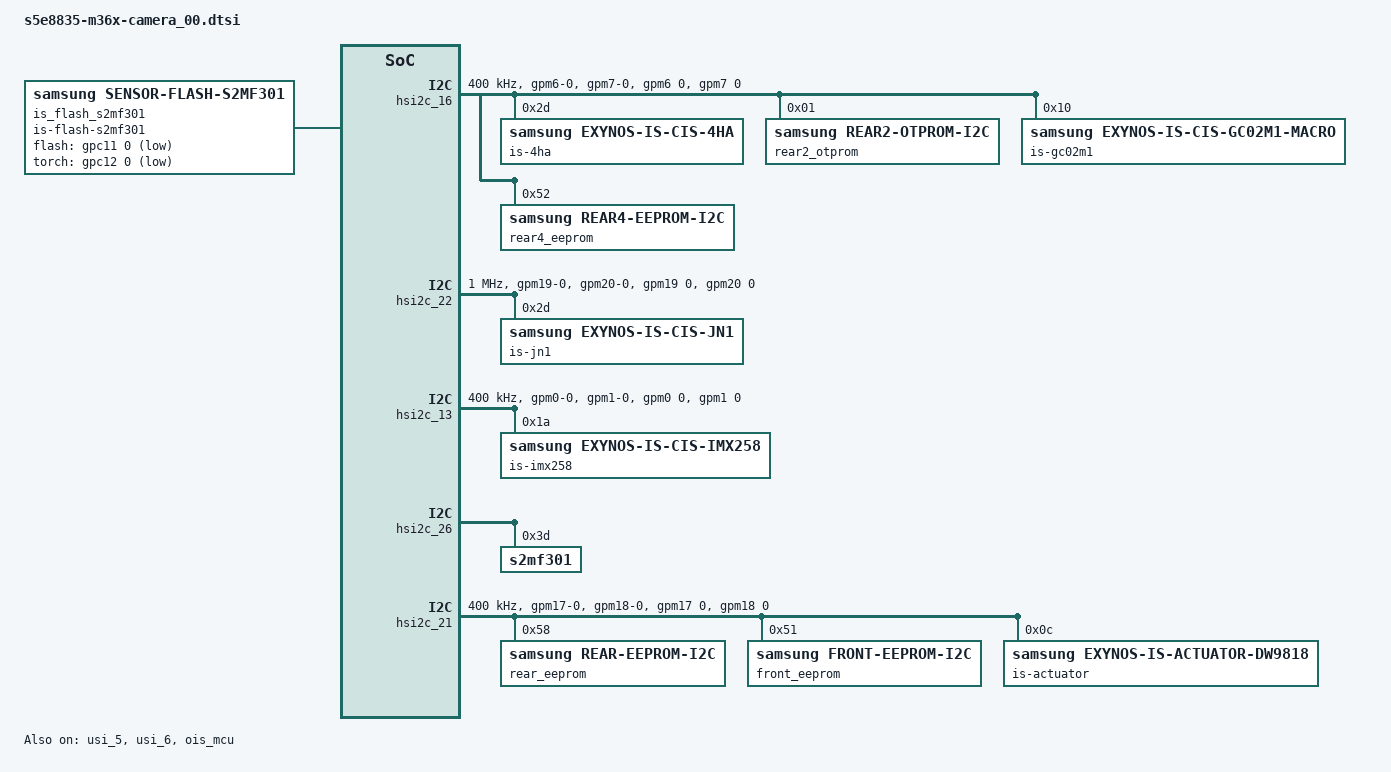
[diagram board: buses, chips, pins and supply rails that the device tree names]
/*
 * Samsung Exynos SoC series Pablo driver
 *
 * Copyright (c) 2024 Samsung Electronics Co., Ltd
 *
 * This program is free software; you can redistribute it and/or modify
 * it under the terms of the GNU General Public License version 2 as
 * published by the Free Software Foundation.
 */

#include <dt-bindings/camera/exynos_is_dt.h>
#include "module_jn1.dtsi"	/* Wide CAMERA */
#include "module_imx258.dtsi"	/* Front CAMERA */
#include "module_4ha.dtsi"	/* UW CAMERA */
#include "module_gc02m1.dtsi"	/* Macro CAMERA */

/ {
	fragment@camera {
		target-path = "/";
		__overlay__ {
			#address-cells = <2>;
			#size-cells = <1>;
			interrupt-parent = <&gic>;

			/* Wide CAMERA */
			is_sensor_jn1: is_sensor_jn1@5A {
				pinctrl-names = "pin0", "pin1", "pin2", "release";
				pinctrl-0 = <>;
				pinctrl-1 = <&sensor_mclk0_out>;
				pinctrl-2 = <&sensor_mclk0_fn>;
				pinctrl-3 = <>;

				/* board */
				position = <0>; /* Rear:0. Front:1, Tele:2 */
				id = <0>; /* is_sensor id */
				mclk_ch = <0>;
				sensor_i2c_ch = <0>; /* SENSOR_CONTROL_I2C0 */

				af {
					product_name = <33>; /* ACTUATOR_NAME_DW9818*/
					i2c_ch = <3>; /* SENSOR_CONTROL_I2C3 */
				};

				flash {
					product_name = <19>; /* S2MF301 */
				};

				preprocessor {
					product_name = <100>; /* NOTHING */
				};

				mcu {
					product_name = <2>; /* INTERNAL */
				};

				power_seq {
					scenario_normal_on {
						20 { pname = "VDD_VT_UW_MACRO_A2P8"; pin = <PIN_OUTPUT 1 0 1000>; gpio = <&gpm12 0 0x1>; share = <SRT_ACQUIRE SHARED_PIN1 1>; };
						30 { pname = "vdd_ldo22"; pin = <PIN_REGULATOR 1 1000>; share = <SRT_ACQUIRE SHARED_PIN0 1>; };
					};

					scenario_normal_off {
						90 { pname = "vdd_ldo22"; pin = <PIN_REGULATOR 0 0>; share = <SRT_RELEASE SHARED_PIN0 0>; };
						100 { pname = "VDD_VT_UW_MACRO_A2P8"; pin = <PIN_OUTPUT 0 1000>; gpio = <&gpm12 0 0x1>; share = <SRT_RELEASE SHARED_PIN1 0>; };
					};

					scenario_vision_on {
						20 { pname = "VDD_VT_UW_MACRO_A2P8"; pin = <PIN_OUTPUT 1 0 1000>; gpio = <&gpm12 0 0x1>; share = <SRT_ACQUIRE SHARED_PIN1 1>; };
						30 { pname = "vdd_ldo22"; pin = <PIN_REGULATOR 1 1000>; share = <SRT_ACQUIRE SHARED_PIN0 1>; };
					};

					scenario_vision_off {
						90 { pname = "vdd_ldo22"; pin = <PIN_REGULATOR 0 0>; share = <SRT_RELEASE SHARED_PIN0 0>; };
						100 { pname = "VDD_VT_UW_MACRO_A2P8"; pin = <PIN_OUTPUT 0 1000>; gpio = <&gpm12 0 0x1>;  share = <SRT_RELEASE SHARED_PIN1 0>; };
					};

					scenario_ois_factory_on {
						20 { pname = "VDD_VT_UW_MACRO_A2P8"; pin = <PIN_OUTPUT 1 0 1000>; gpio = <&gpm12 0 0x1>; share = <SRT_ACQUIRE SHARED_PIN1 1>; };
						30 { pname = "vdd_ldo22"; pin = <PIN_REGULATOR 1 1000>; share = <SRT_ACQUIRE SHARED_PIN0 1>; };
					};

					scenario_ois_factory_off {
						40 { pname = "vdd_ldo22"; pin = <PIN_REGULATOR 0 0>; share = <SRT_RELEASE SHARED_PIN0 0>; };
						50 { pname = "VDD_VT_UW_MACRO_A2P8"; pin = <PIN_OUTPUT 0 1000>; gpio = <&gpm12 0 0x1>; share = <SRT_RELEASE SHARED_PIN1 0>; };
					};

					scenario_read_rom_on {
						10 { pname = "VDD_VT_UW_MACRO_A2P8"; pin = <PIN_OUTPUT 1 0 1000>; gpio = <&gpm12 0 0x1>; share = <SRT_ACQUIRE SHARED_PIN1 1>; };
						20 { pname = "vdd_ldo22"; pin = <PIN_REGULATOR 1 1000>; share = <SRT_ACQUIRE SHARED_PIN0 1>; };
					};

					scenario_read_rom_off {
						30 { pname = "vdd_ldo22"; pin = <PIN_REGULATOR 0 0>; share = <SRT_RELEASE SHARED_PIN0 0>; };
						40 { pname = "VDD_VT_UW_MACRO_A2P8"; pin = <PIN_OUTPUT 0 1000>; gpio = <&gpm12 0 0x1>; share = <SRT_RELEASE SHARED_PIN1 0>; };
					};
				};
			};

			/* FRONT CAMERA */
			is_sensor_imx258: is_sensor_imx258@1A {
				pinctrl-names = "pin0", "pin1", "pin2", "release";
				pinctrl-0 = <>;
				pinctrl-1 = <&sensor_mclk2_out>;
				pinctrl-2 = <&sensor_mclk2_fn>;
				pinctrl-3 = <>;

				/* board */
				position = <1>;	/* Rear:0. Front:1. Rear_sub:2. Secure:3. */
				id = <1>; /* is_sensor id */
				mclk_ch = <2>;
				sensor_i2c_ch = <1>; /* SENSOR_CONTROL_I2C1 */

				power_seq {
					scenario_normal_on {
						20 { pname = "VDD_VT_UW_MACRO_A2P8"; pin = <PIN_OUTPUT 1 0 1000>; gpio = <&gpm12 0 0x1>; share = <SRT_ACQUIRE SHARED_PIN1 1>; };
						40 { pname = "vdd_ldo22"; pin = <PIN_REGULATOR 1 1000>; share = <SRT_ACQUIRE SHARED_PIN0 1>; };
					};

					scenario_normal_off {
						70 { pname = "vdd_ldo22"; pin = <PIN_REGULATOR 0 500>; share = <SRT_RELEASE SHARED_PIN0 0>; };
						90 { pname = "VDD_VT_UW_MACRO_A2P8"; pin = <PIN_OUTPUT 0 1000>; gpio = <&gpm12 0 0x1>; share = <SRT_RELEASE SHARED_PIN1 0>; };
					};

					scenario_vision_on {
						20 { pname = "VDD_VT_UW_MACRO_A2P8"; pin = <PIN_OUTPUT 1 0 1000>; gpio = <&gpm12 0 0x1>; share = <SRT_ACQUIRE SHARED_PIN1 1>; };
						40 { pname = "vdd_ldo22"; pin = <PIN_REGULATOR 1 1000>; share = <SRT_ACQUIRE SHARED_PIN0 1>; };
					};

					scenario_vision_off {
						70 { pname = "vdd_ldo22"; pin = <PIN_REGULATOR 0 500>; share = <SRT_RELEASE SHARED_PIN0 0>; };
						90 { pname = "VDD_VT_UW_MACRO_A2P8"; pin = <PIN_OUTPUT 0 1000>; gpio = <&gpm12 0 0x1>; share = <SRT_RELEASE SHARED_PIN1 0>; };
					};

					scenario_read_rom_on {
						10 { pname = "VDD_VT_UW_MACRO_A2P8"; pin = <PIN_OUTPUT 1 0 1000>; gpio = <&gpm12 0 0x1>; share = <SRT_ACQUIRE SHARED_PIN1 1>; };
						20 { pname = "vdd_ldo22"; pin = <PIN_REGULATOR 1 1000>; share = <SRT_ACQUIRE SHARED_PIN0 1>; };
					};

					scenario_read_rom_off {
						20 { pname = "vdd_ldo22"; pin = <PIN_REGULATOR 0 0>; share = <SRT_RELEASE SHARED_PIN0 0>; };
						30 { pname = "VDD_VT_UW_MACRO_A2P8"; pin = <PIN_OUTPUT 0 1000>; gpio = <&gpm12 0 0x1>; share = <SRT_RELEASE SHARED_PIN1 0>; };
					};
				};
			};

			/* UW CAMERA */
			is_sensor_4ha: is_sensor_4ha@2D {
				pinctrl-names = "pin0", "pin1", "pin2", "release";
				pinctrl-0 = <>;
				pinctrl-1 = <&sensor_mclk2_out>;
				pinctrl-2 = <&sensor_mclk2_fn>;
				pinctrl-3 = <>;

				/* board */
				position = <4>;	/* Rear:0. Front:1. Rear_sub:2. Secure:3. */
				id = <4>; /* is_sensor id */
				mclk_ch = <2>;
				sensor_i2c_ch = <2>; /* SENSOR_CONTROL_I2C2 */

				power_seq {
					scenario_normal_on {
						20 { pname = "VDD_VT_UW_MACRO_A2P8"; pin = <PIN_OUTPUT 1 0 2800000>; gpio = <&gpm12 0 0x1>; share = <SRT_ACQUIRE SHARED_PIN1 1>; };
						40 { pname = "vdd_ldo22"; pin = <PIN_REGULATOR 1 0>; share = <SRT_ACQUIRE SHARED_PIN0 1>; };
					};

					scenario_normal_off {
						70 { pname = "vdd_ldo22"; pin = <PIN_REGULATOR 0 500>; share = <SRT_RELEASE SHARED_PIN0 0>; };
						90 { pname = "VDD_VT_UW_MACRO_A2P8"; pin = <PIN_OUTPUT 0 0>; gpio = <&gpm12 0 0x1>; share = <SRT_RELEASE SHARED_PIN1 0>; };
					};

					scenario_vision_on {
						20 { pname = "VDD_VT_UW_MACRO_A2P8"; pin = <PIN_OUTPUT 1 0 2800000>; gpio = <&gpm12 0 0x1>; share = <SRT_ACQUIRE SHARED_PIN1 1>; };
						40 { pname = "vdd_ldo22"; pin = <PIN_REGULATOR 1 0>; share = <SRT_ACQUIRE SHARED_PIN0 1>; };
					};

					scenario_vision_off {
						70 { pname = "vdd_ldo22"; pin = <PIN_REGULATOR 0 500>; share = <SRT_RELEASE SHARED_PIN0 0>; };
						90 { pname = "VDD_VT_UW_MACRO_A2P8"; pin = <PIN_OUTPUT 0 0>; gpio = <&gpm12 0 0x1>; share = <SRT_RELEASE SHARED_PIN1 0>; };
					};

					scenario_read_rom_on {
						20 { pname = "VDD_VT_UW_MACRO_A2P8"; pin = <PIN_OUTPUT 1 0 2800000>; gpio = <&gpm12 0 0x1>; share = <SRT_ACQUIRE SHARED_PIN1 1>; };
						40 { pname = "vdd_ldo22"; pin = <PIN_REGULATOR 1 0>; share = <SRT_ACQUIRE SHARED_PIN0 1>; };
					};

					scenario_read_rom_off {
						70 { pname = "vdd_ldo22"; pin = <PIN_REGULATOR 0 500>; share = <SRT_RELEASE SHARED_PIN0 0>; };
						90 { pname = "VDD_VT_UW_MACRO_A2P8"; pin = <PIN_OUTPUT 0 0>; gpio = <&gpm12 0 0x1>; share = <SRT_RELEASE SHARED_PIN1 0>; };
					};

				};
			};

			/* MACRO CAMERA */
			is_sensor_gc02m1_macro: is_sensor_gc02m1_macro@20 {
				pinctrl-names = "pin0", "pin1", "pin2", "release";
				pinctrl-0 = <>;
				pinctrl-1 = <&sensor_mclk1_out>;
				pinctrl-2 = <&sensor_mclk1_fn>;
				pinctrl-3 = <>;

				/* board */
				position = <6>;	/* Rear:0. Front:1. Rear_sub:2. Secure:3. */
				id = <3>; /* is_sensor id */
				mclk_ch = <1>;
				sensor_i2c_ch = <2>; /* SENSOR_CONTROL_I2C2 */

				flash {
					product_name = <19>; /* S2MF301 */
				};

				power_seq {
					scenario_normal_on {
						20 { pname = "vdd_ldo22"; pin = <PIN_REGULATOR 1 1000>; share = <SRT_ACQUIRE SHARED_PIN0 1>; };
						40 { pname = "VDD_VT_UW_MACRO_A2P8"; pin = <PIN_OUTPUT 1 0>; gpio = <&gpm12 0 0x1>; share = <SRT_ACQUIRE SHARED_PIN1 1>; };
					};

					scenario_normal_off {
						30 { pname = "vdd_ldo22"; pin = <PIN_REGULATOR 0 500>; share = <SRT_RELEASE SHARED_PIN0 0>; };
						50 { pname = "VDD_VT_UW_MACRO_A2P8"; pin = <PIN_OUTPUT 0 0>; gpio = <&gpm12 0 0x1>; share = <SRT_RELEASE SHARED_PIN1 0>; };
					};

					scenario_vision_on {
						20 { pname = "vdd_ldo22"; pin = <PIN_REGULATOR 1 1000>; share = <SRT_ACQUIRE SHARED_PIN0 1>; };
						40 { pname = "VDD_VT_UW_MACRO_A2P8"; pin = <PIN_OUTPUT 1 0>; gpio = <&gpm12 0 0x1>; share = <SRT_ACQUIRE SHARED_PIN1 1>; };
					};

					scenario_vision_off {
						30 { pname = "vdd_ldo22"; pin = <PIN_REGULATOR 0 500>; share = <SRT_RELEASE SHARED_PIN0 0>; };
						50 { pname = "VDD_VT_UW_MACRO_A2P8"; pin = <PIN_OUTPUT 0 0>; gpio = <&gpm12 0 0x1>; share = <SRT_RELEASE SHARED_PIN1 0>; };
					};

					scenario_read_rom_on {
						10 { pname = "vdd_ldo22"; pin = <PIN_REGULATOR 1 1000>; share = <SRT_ACQUIRE SHARED_PIN0 1>; };
						20 { pname = "VDD_VT_UW_MACRO_A2P8"; pin = <PIN_OUTPUT 1 0>; gpio = <&gpm12 0 0x1>; share = <SRT_ACQUIRE SHARED_PIN1 1>; };
					};

					scenario_read_rom_off {
						20 { pname = "vdd_ldo22"; pin = <PIN_REGULATOR 0 500>; share = <SRT_RELEASE SHARED_PIN0 0>; };
						30 { pname = "VDD_VT_UW_MACRO_A2P8"; pin = <PIN_OUTPUT 0 0>; gpio = <&gpm12 0 0x1>; share = <SRT_RELEASE SHARED_PIN1 0>; };
					};
				};
			};

			is_flash_s2mf301: is-flash-s2mf301@0 {
				compatible = "samsung,sensor-flash-s2mf301";
				sensor-module = <&is_sensor_jn1>,<&is_sensor_gc02m1_macro>;
				id = <0 3>;
				led_ch = <1>;
				status = "okay";
				flash-gpio = <&gpc11 0 0x1>;
				torch-gpio = <&gpc12 0 0x1>;
			};

			/* OIS_MCU */
			ois_mcu: ois_mcu@151F0000 {
				pinctrl-names = "default";
				pinctrl-0 = <&ois_i2c>;
				compatible = "samsung,sensor-ois-mcu";
				reg = <0x0 0x151F0000 0x10000>, /* OIS MCU (SRAM 56KB) */
					<0x0 0x13900000 0x10000>, /* I2C: USI05_USI */
					<0x0 0x13910000 0x10000>, /* SPI: USI06_USI */
					<0x0 0x10040000 0x1000>, /* PERI setting */
					<0x0 0x15000000 0x10000>; /* CSIS */
				reg-names = "core", "i2c", "spi", "peri", "csis";
				interrupts = <0 INTREQ__OIS_FROM_CM0P IRQ_TYPE_LEVEL_HIGH>;

				id = <0>;
				status = "okay";
				mcu_ctrl_actuator = <0>;
				mcu_skip_video_fastae;

				power-domains = <&pd_csis>;
				clocks = <&clock GATE_OIS_MCU_TOP_QCH>, <&clock DOUT_DIV_CLK_PERI_USI06_USI>;
				clock-names = "user_mux", "ipclk_spi";
			};

			/* dphy_setfile settings taken from A54x */
			dphy_setfile_m35x_1: dphy-setfile_m35x_1@00 {
				comm {
					/* bias */
					0  = <0x1000 0 32 0x00000010 IDX_BIA_VAL 0>; /* M_BIAS_CON0 */
					1  = <0x1004 0 32 0x00000110 IDX_BIA_VAL 0>; /* M_BIAS_CON1 */
					2  = <0x1008 0 32 0x00003223 IDX_BIA_VAL 0>; /* M_BIAS_CON2 */
					3  = <0x1010 0 32 0x00000200 IDX_BIA_VAL 0>; /* M_BIAS_CON4 */
					4  = <0x1114 0 32 0x00000500 IDX_BIA_VAL 0>; /* M_PLL_CON5 */
					5  = <0x1118 0 32 0x00000000 IDX_BIA_VAL 0>; /* M_PLL_CON6 */
					6  = <0x111C 0 32 0x000028A0 IDX_BIA_VAL 0>; /* M_PLL_CON7 */
					7  = <0x1120 0 32 0x00001450 IDX_BIA_VAL 0>; /* M_PLL_CON8 */
					8  = <0x1124 0 32 0x00001208 IDX_BIA_VAL 0>; /* M_PLL_CON9 */

					/* Clock lane */
					9 = <0x0004 0 32 0x000028A0 IDX_FIX_VAL 0>; /* SC_GNR_CON1 */
					10 = <0x0008 0 32 0x00000001 IDX_FIX_VAL 0>; /* SC_ANA_CON0 */
					11 = <0x000C 0 32 0x0000E840 IDX_FIX_VAL 0>; /* SC_ANA_CON1 */
					12 = <0x0010 0 32 0x00000002 IDX_FIX_VAL 0>; /* SC_ANA_CON2 */
					13 = <0x0014 0 32 0x00008600 IDX_FIX_VAL 0>; /* SC_ANA_CON3 */
					14 = <0x0018 0 32 0x00004000 IDX_FIX_VAL 0>; /* SC_ANA_CON4 */
					15 = <0x0030 0 32 0x00000308 IDX_FIX_VAL 0>; /* SC_TIME_CON0 */
					16 = <0x0040 0 32 0x00000000 IDX_FIX_VAL 0>; /* SC_DATA_CON0 */

					/* Enable should be set at last */
					17 = <0x0000 0 32 0x00000001 IDX_FIX_VAL 0>; /* SC_GNR_CON0 */
				};

				lane {
					0  = <0x0004 0 32 0x000028A0 IDX_FIX_VAL 4>; /* SD_GNR_CON1 */
					1  = <0x0008 0 32 0x00000001 IDX_FIX_VAL 4>; /* SD_ANA_CON0 */
					2  = <0x000C 0 32 0x0000E840 IDX_FIX_VAL 4>; /* SD_ANA_CON1 */
					3  = <0x0010 0 32 0x00000002 IDX_FIX_VAL 4>; /* SD_ANA_CON2 */
					4  = <0x0010 8  2 0x00000000 IDX_SKW_DLY 4>; /* SD_ANA_CON2 */
					5  = <0x0014 0 32 0x00008600 IDX_FIX_VAL 4>; /* SD_ANA_CON3 */
					6  = <0x0018 0 32 0x00004000 IDX_FIX_VAL 4>; /* SD_ANA_CON4 */
					7  = <0x0030 0  8 0x00000000 IDX_STL_VAL 4>; /* SD_TIME_CON0 */
					8  = <0x0030 8  1 0x00000000 IDX_STL_CLK 4>; /* SD_TIME_CON0 */
					9  = <0x0034 0 32 0x00000003 IDX_FIX_VAL 4>; /* SD_TIME_CON1 */
					10 = <0x0040 0  1 0x00000001 IDX_SKW_CAL 4>; /* SD_DESKEW_CON0 */
					11 = <0x0050 0 32 0x0000081A IDX_FIX_VAL 4>; /* SD_DESKEW_CON4 */

					/* Enable should be set at last */
					12 = <0x0000 0 32 0x00000001 IDX_FIX_VAL 4>;/* SD_GNR_CON0 */
				};
			};

			dphy_setfile_m35x_2: dphy-setfile_m35x_2@00 {
				comm {
					/* bias */
					0  = <0x1000 0 32 0x00000010 IDX_BIA_VAL 0>; /* M_BIAS_CON0 */
					1  = <0x1004 0 32 0x00000110 IDX_BIA_VAL 0>; /* M_BIAS_CON1 */
					2  = <0x1008 0 32 0x00003223 IDX_BIA_VAL 0>; /* M_BIAS_CON2 */
					3  = <0x1010 0 32 0x00000200 IDX_BIA_VAL 0>; /* M_BIAS_CON4 */
					4  = <0x1114 0 32 0x00000500 IDX_BIA_VAL 0>; /* M_PLL_CON5 */
					5  = <0x1118 0 32 0x00000000 IDX_BIA_VAL 0>; /* M_PLL_CON6 */
					6  = <0x111C 0 32 0x000028A0 IDX_BIA_VAL 0>; /* M_PLL_CON7 */
					7  = <0x1120 0 32 0x00001450 IDX_BIA_VAL 0>; /* M_PLL_CON8 */
					8  = <0x1124 0 32 0x00001208 IDX_BIA_VAL 0>; /* M_PLL_CON9 */

					/* Clock lane */
					9 = <0x0004 0 32 0x000028A0 IDX_FIX_VAL 0>; /* SC_GNR_CON1 */
					10 = <0x0008 0 32 0x00000001 IDX_FIX_VAL 0>; /* SC_ANA_CON0 */
					11 = <0x000C 0 32 0x0000E840 IDX_FIX_VAL 0>; /* SC_ANA_CON1 */
					12 = <0x0010 0 32 0x00000002 IDX_FIX_VAL 0>; /* SC_ANA_CON2 */
					13 = <0x0014 0 32 0x00008600 IDX_FIX_VAL 0>; /* SC_ANA_CON3 */
					14 = <0x0018 0 32 0x00004000 IDX_FIX_VAL 0>; /* SC_ANA_CON4 */
					15 = <0x0030 0 32 0x00000308 IDX_FIX_VAL 0>; /* SC_TIME_CON0 */
					16 = <0x0040 0 32 0x00000000 IDX_FIX_VAL 0>; /* SC_DATA_CON0 */

					/* Enable should be set at last */
					17 = <0x0000 0 32 0x00000001 IDX_FIX_VAL 0>; /* SC_GNR_CON0 */
				};
			};

			dphy_setfile_m54x_4ha: dphy-setfile_m54x_4ha@00 {
				comm {
					/* bias */
					0  = <0x1000 0 32 0x00000010 IDX_BIA_VAL 0>; /* M_BIAS_CON0 */
					1  = <0x1004 0 32 0x00000110 IDX_BIA_VAL 0>; /* M_BIAS_CON1 */
					2  = <0x1008 0 32 0x00003223 IDX_BIA_VAL 0>; /* M_BIAS_CON2 */
					3  = <0x1010 0 32 0x00000200 IDX_BIA_VAL 0>; /* M_BIAS_CON4 */
					4  = <0x1114 0 32 0x00000500 IDX_BIA_VAL 0>; /* M_PLL_CON5 */
					5  = <0x1118 0 32 0x00000000 IDX_BIA_VAL 0>; /* M_PLL_CON6 */
					6  = <0x111C 0 32 0x000028A0 IDX_BIA_VAL 0>; /* M_PLL_CON7 */
					7  = <0x1120 0 32 0x00001450 IDX_BIA_VAL 0>; /* M_PLL_CON8 */
					8  = <0x1124 0 32 0x00001208 IDX_BIA_VAL 0>; /* M_PLL_CON9 */

					/* Clock lane */
					9 = <0x0004 0 32 0x000028A0 IDX_FIX_VAL 0>; /* SC_GNR_CON1 */
					10 = <0x0008 0 32 0x00000001 IDX_FIX_VAL 0>; /* SC_ANA_CON0 */
					11 = <0x000C 0 32 0x0000E840 IDX_FIX_VAL 0>; /* SC_ANA_CON1 */
					12 = <0x0010 0 32 0x00000002 IDX_FIX_VAL 0>; /* SC_ANA_CON2 */
					13 = <0x0014 0 32 0x00008600 IDX_FIX_VAL 0>; /* SC_ANA_CON3 */
					14 = <0x0018 0 32 0x00004000 IDX_FIX_VAL 0>; /* SC_ANA_CON4 */
					15 = <0x0030 0 32 0x00000308 IDX_FIX_VAL 0>; /* SC_TIME_CON0 */
					16 = <0x0040 0 32 0x00000000 IDX_FIX_VAL 0>; /* SC_DATA_CON0 */

					/* Enable should be set at last */
					17 = <0x0000 0 32 0x00000001 IDX_FIX_VAL 0>; /* SC_GNR_CON0 */
				};

				lane {
					0  = <0x0004 0 32 0x000028A0 IDX_FIX_VAL 4>; /* SD_GNR_CON1 */
					1  = <0x0008 0 32 0x00000001 IDX_FIX_VAL 4>; /* SD_ANA_CON0 */
					2  = <0x000C 0 32 0x0000E840 IDX_FIX_VAL 4>; /* SD_ANA_CON1 */
					3  = <0x0010 0 32 0x00000002 IDX_FIX_VAL 4>; /* SD_ANA_CON2 */
					4  = <0x0010 8  2 0x00000000 IDX_SKW_DLY 4>; /* SD_ANA_CON2 */
					5  = <0x0014 0 32 0x00008600 IDX_FIX_VAL 4>; /* SD_ANA_CON3 */
					6  = <0x0018 0 32 0x00004000 IDX_FIX_VAL 4>; /* SD_ANA_CON4 */
					7  = <0x0030 0  8 0x00000000 IDX_STL_VAL 4>; /* SD_TIME_CON0 */
					8  = <0x0030 8  1 0x00000000 IDX_STL_CLK 4>; /* SD_TIME_CON0 */
					9  = <0x0034 0 32 0x00000003 IDX_FIX_VAL 4>; /* SD_TIME_CON1 */
					10 = <0x0040 0  1 0x00000001 IDX_SKW_CAL 4>; /* SD_DESKEW_CON0 */
					11 = <0x0050 0 32 0x0000081A IDX_FIX_VAL 4>; /* SD_DESKEW_CON4 */

					/* Enable should be set at last */
					12 = <0x0000 0 32 0x00000001 IDX_FIX_VAL 4>;/* SD_GNR_CON0 */
				};
			};

			/* Wide CAMERA */
			is_sensor0: is_sensor0@15030000 {
				#address-cells = <1>;
				#size-cells = <1>;
				scenario = <SENSOR_SCENARIO_NORMAL>;	/* Normal, Vision, OIS etc */
				id = <0>;
				csi_ch = <0>;
				status = "okay";
				use_cphy = <0>;

				interrupts = <0 INTREQ__CSIS0 IRQ_TYPE_LEVEL_HIGH>; /*MIPI-CSI0 */
				interrupt-names = "csi";
				phys = <&mipi_phy_csis0_m0s4s4s4s4_s22 0>;
				phy_setfile = <&dphy_setfile>;
				phy_tune_default_mode = "4080 3060 30";
			};

			/* FRONT CAMERA */
			is_sensor1: is_sensor1@15040000 {
				#address-cells = <1>;
				#size-cells = <1>;
				reg = <0x0 0x15050000 0x1000>, /* MIPI-CSI2 */
						<0x0 0x150F0000 0x10000>; /* PHY: M0S4S4S4S4_S22 */
				scenario = <SENSOR_SCENARIO_NORMAL>;	/* Normal, Vision, OIS etc */
				id = <1>;
				csi_ch = <2>;
				status = "okay";
				use_cphy = <0>;

				interrupts = <0 INTREQ__CSIS2 IRQ_TYPE_LEVEL_HIGH>; /* MIPI-CSI2 */
				interrupt-names = "csi";
				phys = <&mipi_phy_csis2_m0s4s4s4s4_s22 0>;
				phy_setfile = <&dphy_setfile_m35x_1>, <&dphy_setfile_m35x_2>;
				phy_tune_default_mode = "4128 3096 30";
			};

			/* Macro CAMERA */
			is_sensor4: is_sensor4@15070000 {
				#address-cells = <1>;
				#size-cells = <1>;
				reg = <0x0 0x15060000 0x1000>, /* MIPI-CSI3 */
						<0x0 0x150F0000 0x10000>; /* PHY: M0S4S4S4S4S2S1 */
				scenario = <SENSOR_SCENARIO_NORMAL>;	/* Normal, Vision, OIS etc */
				id = <3>;
				csi_ch = <3>;
				status = "okay";
				use_cphy = <0>;

				interrupts = <0 INTREQ__CSIS3 IRQ_TYPE_LEVEL_HIGH>; /* MIPI-CSI3 */
				phys = <&mipi_phy_csis3_m0s4s4s4s4_s22 0>;
				phy_setfile = <&dphy_setfile>;
				phy_tune_default_mode = "1600 1200 30";
			};

			/* UW CAMERA */
			is_sensor2: is_sensor2@15050000 {
				#address-cells = <1>;
				#size-cells = <1>;
				reg = <0x0 0x15040000 0x1000>, /* MIPI-CSI1 */
					<0x0 0x150F0000 0x10000>; /* PHY: M0S4S4S4S4_S22 */
				scenario = <SENSOR_SCENARIO_NORMAL>;	/* Normal, Vision, OIS etc */
				id = <4>;
				csi_ch = <1>;
				status = "okay";

				interrupts = <0 INTREQ__CSIS1 IRQ_TYPE_LEVEL_HIGH>; /* MIPI-CSI1 */
				interrupt-names = "csi";
				phys = <&mipi_phy_csis1_m0s4s4s4s4_s22 0>;
				phy_setfile = <&dphy_setfile_m54x_4ha>;
				phy_tune_default_mode = "3264 2448 30";
			};

			is_sensor3: is_sensor3@15060000 {
				status = "disabled";
			};
		}; /* end of __overlay__ */
	}; /* end of fragment */
}; /* end of root */

/***** reference symbol node *****/
/* Ois setting */
&usi_5 {
	usi_v2_mode = "i2c";
	status = "okay";
};

&usi_6 {
	usi_v2_mode = "spi";
	status = "okay";
};

/*
 * [Pin control reference]
 * samsung,pin-function = <0: Input, 1: Output, 2~3: Func>;
 * samsung,pin-pud = <0: NP, 1: PD, 3: PU(2KOhm), 5: PU(0.8KOhm)>;
 * samsung,pin-drv = <0: x1, 1: x2, 2: x3, 3: x4>;
 * samsung,pin-con-pdn = <0: Output0, 1: Output1, 2: Input, 3:Prev>;
 * samsung,pin-pud-pdn = <0: NP, 1: PD, 3: PU>;
 */
 
/* GPIO_PERI */
&pinctrl_1 {
	/* FRONT i2c1 */
	hsi2c13_bus: hsi2c13-bus {
			samsung,pins = "gpm0-0", "gpm1-0";
			samsung,pin-function = <2>;
			samsung,pin-pud = <0>;
			samsung,pin-drv = <0>;
	};

	hsi2c13_bus_in: hsi2c13-bus-in {
			samsung,pins = "gpm0-0", "gpm1-0";
			samsung,pin-function = <0>;
			samsung,pin-pud = <0>;
			samsung,pin-drv = <0>;
	};

	/* UW,MACRO : i2c2 */
	hsi2c16_bus: hsi2c16-bus {
			samsung,pins = "gpm6-0", "gpm7-0";
			samsung,pin-function = <3>;
			samsung,pin-pud = <0>;
			samsung,pin-drv = <0>;
	};

	hsi2c16_bus_in: hsi2c16-bus-in {
			samsung,pins = "gpm6-0", "gpm7-0";
			samsung,pin-function = <0>;
			samsung,pin-pud = <0>;
			samsung,pin-drv = <0>;
	};

	/* REAR Wide : i2c0 */
	hsi2c22_bus: hsi2c22-bus {
			samsung,pins = "gpm19-0", "gpm20-0";
			samsung,pin-function = <3>;
			samsung,pin-pud = <0>;
			samsung,pin-drv = <0>;
	};

	hsi2c22_bus_in: hsi2c22-bus-in {
			samsung,pins = "gpm19-0", "gpm20-0";
			samsung,pin-function = <0>;
			samsung,pin-pud = <0>;
			samsung,pin-drv = <0>;
	};

	/* Wide AF,EEP i2c3 */
	hsi2c21_bus: hsi2c21-bus {
			samsung,pins = "gpm17-0", "gpm18-0";
			samsung,pin-function = <2>;
			samsung,pin-pud = <0>;
			samsung,pin-drv = <0>;
	};

	hsi2c21_bus_in: hsi2c21-bus-in {
			samsung,pins = "gpm17-0", "gpm18-0";
			samsung,pin-function = <0>;
			samsung,pin-pud = <0>;
			samsung,pin-drv = <0>;
	};

	cam_flash_en: cam-flash-en {
		samsung,pins = "gpc11-0";
		samsung,pin-function = <1>;
		samsung,pin-con-pdn= <3>;
	};

	cam_torch_en: cam-torch-en {
		samsung,pins = "gpc12-0";
		samsung,pin-function = <1>;
		samsung,pin-con-pdn= <3>;
	};
};

&pinctrl_3 {
	ois_i2c: ois-i2c {
		samsung,pins = "gpp1-4", "gpp1-5";
		samsung,pin-function = <0>;
		samsung,pin-pud = <0>;
		samsung,pin-pud-pdn = <0>;
	};

	rcam1_ois_ldo_en: rcam1-ois-ldo-en {
		samsung,pins = "gpp2-4";
		samsung,pin-con-pdn = <0>;
	};

	rcam1_ldo_en: rcam1-ldo-en {
		samsung,pins = "gpp2-5";
		samsung,pin-con-pdn = <0>;
	};
};

&hsi2c_16 {
	#address-cells = <1>;
	#size-cells = <0>;
	gpios = <&gpm6 0 0 &gpm7 0 0>;
	status = "okay";
	clock-frequency = <400000>;
	samsung,reset-before-trans;

	pinctrl-names = "default","on_i2c","off_i2c";
	pinctrl-0 = <&hsi2c16_bus_in>;
	pinctrl-1 = <&hsi2c16_bus>;
	pinctrl-2 = <&hsi2c16_bus_in>;

	is-4ha@2D {
		compatible = "samsung,exynos-is-cis-4ha";
		sensor-module = <&is_sensor_4ha>;
		reg = <0x2D>; /* 1 bit right shift */
		id = <4>; /* matching is_sensor id */
		setfile = "setB";
		status = "okay";
		rev_reg = <0x0000 2 0x48AB>;
		sensor_f_number = <220>;	/* f number 2.2 */
	};

	rear2_otprom@2D { /* UW OTPROM */
		compatible = "samsung,rear2-otprom-i2c";
		reg = <0x01>;

		rom_power_position = <4>;
		rom_size = <0x1AA0>;
		cal_map_es_version = <1>;
		camera_module_es_version = "A";
		/* skip_cal_loading; */

		/* 20220824_A34 5G_CAM2(UW_8M_4HA)_OTP_Rear_Cal map V008.001_QC_LSI_MTK_ê³µìš©_Map */
		/* 0 header */
		header_crc_check_list = <0x0000 0x0051 0x0052>;
		/* 0 module */
		crc_check_list = <0x0056 0x0477 0x0478>;
		/* Master */
		rom_header_version_start_addr = <0x000A>;
		rom_header_cal_data_start_addr = <0x0056>;
		rom_header_cal_map_ver_start_addr = <0x0016>;
		rom_header_project_name_start_addr = <0x1E>;
		rom_header_module_id_addr = <0x0036>; /* 0x0030 + reserved bytes */
		rom_header_sensor_id_addr = <0x0040>;
		rom_awb_master_addr = <0x0060>;

		/* standard cal */
		use_standard_cal;
		rom_standard_cal_start_addr = <0x0060>;
		rom_standard_cal_end_addr = <0x0A43>;
		rom_standard_cal_sec2lsi_end_addr = <0x1A5F>;
		rom_awb_start_addr = <0x0060>;
		rom_awb_end_addr = <0x0067>;
		rom_shading_start_addr = <0x006A>;
		rom_shading_end_addr = <0x0462>;
		rom_awb_sec2lsi_start_addr = <0x0060>;
		rom_awb_sec2lsi_end_addr = <0x0067>;
		rom_awb_sec2lsi_checksum_addr = <0x006C>;
		rom_awb_sec2lsi_checksum_len = <0xC>;
		rom_shading_sec2lsi_start_addr = <0x0070>;
		rom_shading_sec2lsi_end_addr = <0x1A57>;
		rom_shading_sec2lsi_checksum_addr = <0x1A5C>;
		rom_shading_sec2lsi_checksum_len = <0x19EC>;
	};

	is-gc02m1@20 {
		compatible = "samsung,exynos-is-cis-gc02m1-macro";
		sensor-module = <&is_sensor_gc02m1_macro>;
		reg = <0x10>; /* 1 bit right shift */
		id = <3>; /* matching is_sensor id */
		setfile = "setA";
		status = "okay";
		//rev_reg = <0x0002 2 0xA202>;
		sensor_f_number = <240>;	/* f number 2.4 */
	};

	rear4_eeprom@A4 { /* Macro eeprom */
		compatible = "samsung,rear4-eeprom-i2c";
		reg = <0x52>;

		rom_power_position = <6>;
		rom_size = <0x1D4A>;
		cal_map_es_version = <1>;
		camera_module_es_version = "A";
		/* skip_cal_loading; */

		/* 0 header */
		header_crc_check_list = <0x0000 0x00FB 0x00FC>;
		/* 0 module */
		crc_check_list = <  0x0100 0x010B 0X010C
			0x0110 0x011B 0x011C
			0x0120 0x051B 0x051C >;
		/* Master */
		rom_header_version_start_addr = <0x5E>;
		rom_header_cal_data_start_addr = <0x00>;
		rom_header_cal_map_ver_start_addr = <0x88>;
		rom_header_project_name_start_addr = <0x90>;
		rom_header_module_id_addr = <0xAE>;
		rom_header_sensor_id_addr = <0xB8>;
		rom_awb_master_addr = <0x0110>;

		/* standard cal */
		use_standard_cal;
		rom_standard_cal_start_addr = <0x0100>;
		rom_standard_cal_end_addr = <0x051F>;
		rom_standard_cal_sec2lsi_end_addr = <0x1B0F>;
		rom_awb_start_addr = <0x0110>;
		rom_awb_end_addr = <0x0117>;
		rom_shading_start_addr = <0x0120>;
		rom_shading_end_addr = <0x0518>;
		rom_factory_start_addr = <0x0520>;
		rom_factory_end_addr = <0x0759>;

		rom_awb_sec2lsi_start_addr = <0x0110>;
		rom_awb_sec2lsi_end_addr = <0x0117>;
		rom_awb_sec2lsi_checksum_addr = <0x011C>;
		rom_awb_sec2lsi_checksum_len = <0xC>;
		rom_shading_sec2lsi_start_addr = <0x0120>;
		rom_shading_sec2lsi_end_addr = <0x1B07>;
		rom_shading_sec2lsi_checksum_addr = <0x1B0C>;
		rom_shading_sec2lsi_checksum_len = <0x19EC>;
		rom_factory_sec2lsi_start_addr = <0x1B10>;
	};
};

&hsi2c_22 {
	#address-cells = <1>;
	#size-cells = <0>;
	gpios = <&gpm19 0 0 &gpm20 0 0>;
	status = "okay";
	clock-frequency = <1000000>;
	samsung,reset-before-trans;
	samsung,fast-plus-mode;

	pinctrl-names = "default","on_i2c","off_i2c";
	pinctrl-0 = <&hsi2c22_bus_in>;
	pinctrl-1 = <&hsi2c22_bus>;
	pinctrl-2 = <&hsi2c22_bus_in>;

	is-jn1@5A {
		compatible = "samsung,exynos-is-cis-jn1";
		sensor-module = <&is_sensor_jn1>;
		reg = <0x2D>; /* 1 bit right shift */
		id = <0>; /* matching is_sensor id */
		setfile = "setA";
		status = "okay";
		rev_reg = <0x0002 2 0xB100>;
		vendor_use_adaptive_mipi;
		sensor_f_number = <180>;	/* f number 1.8 */
	};
};

&hsi2c_13 {
	#address-cells = <1>;
	#size-cells = <0>;
	gpios = <&gpm0 0 0 &gpm1 0 0>;
	status = "okay";
	clock-frequency = <400000>;
	samsung,reset-before-trans;

	pinctrl-names = "default","on_i2c","off_i2c";
	pinctrl-0 = <&hsi2c13_bus_in>;
	pinctrl-1 = <&hsi2c13_bus>;
	pinctrl-2 = <&hsi2c13_bus_in>;

	is-imx258@1A {
		compatible = "samsung,exynos-is-cis-imx258";
		sensor-module = <&is_sensor_imx258>;
		reg = <0x1A>; /* 1 bit right shift */
		id = <1>; /* matching is_sensor id */
		setfile = "setB";
		status = "okay";
		rev_reg = <0x0002 1 0xB0>;
		sensor_f_number = <220>;	/* f number 2.2 */
		vendor_use_adaptive_mipi;
	};
};

&hsi2c_26 {
/* FLASH-LED: LEDS-S2MF301 */
		s2mf301@3D {
		reg = <0x3D>;
		flash_led {
			default_current = <50>;
			max_current = <200>;
			default_timer = <0>;
			flash-gpio = <&gpc11 0 0x1>;
			torch-gpio = <&gpc12 0 0x1>;

			flash_current = <1250>;
			preflash_current = <200>;
			torch_current = <50 80 130 170 210>;
			movie_current = <200>;
			factory_torch_current = <250>;
			factory_flash_current = <250>;
			flashlight_current = <50 80 130 170 210>;
			status = "okay";
		};
	};
};

&hsi2c_21 {
	#address-cells = <1>;
	#size-cells = <0>;
	gpios = <&gpm17 0 0 &gpm18 0 0>;
	status = "okay";
	clock-frequency = <400000>;
	samsung,reset-before-trans;

	pinctrl-names = "default","on_i2c","off_i2c";
	pinctrl-0 = <&hsi2c21_bus_in>;
	pinctrl-1 = <&hsi2c21_bus>;
	pinctrl-2 = <&hsi2c21_bus_in>;

	rear_eeprom@B0 { /* Rear Wide eeprom */
		compatible = "samsung,rear-eeprom-i2c";
		reg = <0x58>;

		rom_power_position = <0>;
		rom_size = <0x543A>;
		cal_map_es_version = <1>;
		camera_module_es_version = "A";
		/* skip_cal_loading; */
		/* 0 header */
		header_crc_check_list = <0x0000 0x00FB 0x00FC>;
		crc_check_list = <  0x01A0 0x0224B 0X224C
			0x2790 0x27DB 0x27DC
			0x27E0 0x2F9B 0x2F9C
			0x3800 0x381B 0x381C
			0x3820 0x3C1B 0x3C1C >;
		/* Master */
		rom_header_version_start_addr = <0x6E>;
		rom_header_cal_data_start_addr = <0x00>;
		rom_header_cal_map_ver_start_addr = <0x90>;
		rom_header_project_name_start_addr = <0x98>;
		rom_header_module_id_addr = <0xB6>;
		rom_header_sensor_id_addr = <0xC0>;
		rom_awb_master_addr = <0x3800>;
#if 0
		/* Dual cal slave 0 - Bokeh DualCal info data (Set Cal) */
		rom_dualcal_slave0_start_addr = <0x1070>;
		rom_dualcal_slave0_size = <0x080C>; /* 2060 */
#endif
		/* Rear Crosstalk Cal data */
		rom_xtc_cal_data_start_addr = <0x01A0>;
		rom_xtc_cal_data_size = <0x20AC>;
		rom_xtc_cal_data_addr_list = <0x01A0 0x224B>;
		rear_remosaic_tetra_xtc_start_addr	= <0x150C>;
		rear_remosaic_tetra_xtc_size		= <0x0A34>;
		rear_remosaic_sensor_xtc_start_addr	= <0x1F40>;
		rear_remosaic_sensor_xtc_size		= <0x0300>;
		rear_remosaic_pdxtc_start_addr		= <0x01A0>;
		rear_remosaic_pdxtc_size			= <0x0FA0>;
		rear_remosaic_sw_ggc_start_addr		= <0x1140>;
		rear_remosaic_sw_ggc_size			= <0x0272>;
		rom_af_cal_addr = <0x279C 0x2790>; /*AF position inf 0 Near Far */

		use_standard_cal;
		rom_standard_cal_start_addr = <0x0100>;
		rom_standard_cal_end_addr = <0x3C1F>;
		rom_standard_cal_sec2lsi_end_addr = <0x51FF>;
		rom_awb_start_addr = <0x3800>;
		rom_awb_end_addr = <0x3807>;
		rom_shading_start_addr = <0x3820>;
		rom_shading_end_addr = <0x3C18>;
		rom_factory_start_addr = <0x3C20>;
		rom_factory_end_addr = <0x3E59>;

		rom_awb_sec2lsi_start_addr = <0x3800>;
		rom_awb_sec2lsi_end_addr = <0x3807>;
		rom_awb_sec2lsi_checksum_addr = <0x380C>;
		rom_awb_sec2lsi_checksum_len = <0xC>;
		rom_shading_sec2lsi_start_addr = <0x3810>;
		rom_shading_sec2lsi_end_addr = <0x51F7>;
		rom_shading_sec2lsi_checksum_addr = <0x51FC>;
		rom_shading_sec2lsi_checksum_len = <0x19EC>;
		rom_factory_sec2lsi_start_addr = <0x5200>;

		/* sensor ois - xgg ygg xcoef ycoef xsupper ysupper calmark */
		rom_ois_list = <0x0150 0x0154 0x015C 0x015E 0x0178 0x017A 0x0170>;
	};

	front_eeprom@A2 { /* Front EEPROM */
		compatible = "samsung,front-eeprom-i2c";
		reg = <0x51>;
		rom_power_position = <1>;
		rom_size = <0x1C84>;
		cal_map_es_version = <1>;
		camera_module_es_version = "A";
		/* skip_cal_loading; */

		/* 0 header */
		header_crc_check_list = <0x0000 0x0051 0x0052>;
		/* 0 cross-talk */
		/* 1 standard cal */
		crc_check_list = <0x0056 0x0477 0x0478>;
		/* Master */
		rom_header_version_start_addr = <0x0A>;
		rom_header_cal_data_start_addr = <0x00>;
		rom_header_cal_map_ver_start_addr = <0x16>;
		rom_header_project_name_start_addr = <0x1E>;
		rom_header_module_id_addr = <0x36>; /* 0x28 + reserved bytes */
		rom_header_sensor_id_addr = <0x40>;
		rom_awb_master_addr = <0x0064>;

		/* standard cal */
		use_standard_cal;
		rom_standard_cal_start_addr = <0x0056>;
		rom_standard_cal_end_addr = <0x047B>;
		rom_standard_cal_sec2lsi_end_addr = <0x1A63>;
		rom_awb_start_addr = <0x0064>;
		rom_awb_end_addr = <0x006B>;
		rom_shading_start_addr = <0x006E>;
		rom_shading_end_addr = <0x0466>;
		rom_factory_start_addr = <0x047C>;
		rom_factory_end_addr = <0x069B>;
		rom_awb_sec2lsi_start_addr = <0x0064>;
		rom_awb_sec2lsi_end_addr = <0x006B>;
		rom_awb_sec2lsi_checksum_addr = <0x0070>;
		rom_awb_sec2lsi_checksum_len = <0xC>;
		rom_shading_sec2lsi_start_addr = <0x0074>;
		rom_shading_sec2lsi_end_addr = <0x1A5B>;
		rom_shading_sec2lsi_checksum_addr = <0x1A60>;
		rom_shading_sec2lsi_checksum_len = <0x19EC>;
		rom_factory_sec2lsi_start_addr = <0x1A64>;
	};

	is-actuator@0C { /* wide AF */
		compatible = "samsung,exynos-is-actuator-dw9818";
		sensor-module = <&is_sensor_jn1>;
		reg = <0x0C>;
		id = <0>; /* matching is_sensor id */
		vendor_first_pos = <512>; /* 10bits */
		vendor_first_delay = <20>;
		status = "okay";
	};

};

&exynos_is {
	pinctrl-names = "default";
	pinctrl-0 = <&cam_torch_en &cam_flash_en &rcam1_ois_ldo_en &rcam1_ldo_en>;

	vender {
		use_module_check;
		use_ois;
		check_sensor_vendor;
		ois_sensor_index = <0>;
		aperture_sensor_index = <0>;
		mcu_sensor_index = <0>;
		skip_cal_loading;

		is_vendor_sensor_count = <4>;
		max_supported_camera = <4>;
		supported_cameraId = <0 1 58 60>;
		ois_gyro_list = <0x04 0x00 0x00>;

		/*
		* Wide(0)
		* Front(1)
		* U Wide(2)
		* Front 80(3) - not available for factory
		* Front Secure(5) - not available for factory
		* DUAL_REAR_PORTRAIT_WIDE(23)
		* Bokeh(52)
		* Rear_UW(58)
		* Macro(60)
		*/

		/* sysfs camera id */
		max_camera_num = <5>;
		sensor_id { /* sensor position = <sensor_id> */
			0 = <72>;	/* S5KJN1 */
			1 = <110>;	/* IMX258 */
			4 = <39>;	/* S5K4HA */
			6 = <214>;	/* GC02M1 */
		};

		camera_info0 {			/* 0 : sysfs rear */
			internal_id = <0>;	/* 0 : wide */
			isp = <0>;		/* 0 : INT, 1 : EXT, 2 : SOC */
			cal_memory = <2>;	/* 0 : N, 1 : FROM, 2 : EEPROM, 3 : OTP */
			read_version = <0>;	/* 0 : SYSFS, 1 : CAMON */
			core_voltage = <0>;	/* 0 : N, 1 : Y */
			upgrade = <0>;		/* 0 : N, 1 : SYSFS , 2 : CAMON */
			fw_write = <0>;		/* 0 : N, 1 : OS, 2 : SD, 3 : ALL */
			fw_dump = <0>;		/* 0 : N, 1 : Y */
			companion = <0>;	/* 0 : N, 1 : Y */
			ois = <1>;		/* 0 : N, 1 : Y */
			valid = <1>;		/* 0 : INVALID, 1 : VALID */
		};
		camera_info1 {			/* 1 : sysfs front */
			internal_id = <1>;	/* 1 : front */
			isp = <0>;		/* 0 : INT, 1 : EXT, 2 : SOC */
			cal_memory = <2>;	/* 0 : N, 1 : FROM, 2 : EEPROM, 3 : OTP */
			read_version = <0>;	/* 0 : SYSFS, 1 : CAMON */
			core_voltage = <0>;	/* 0 : N, 1 : Y */
			upgrade = <0>;		/* 0 : N, 1 : SYSFS, 2 : CAMON */
			fw_write = <0>;		/* 0 : N, 1 : OS, 2 : SD, 3 : ALL */
			fw_dump = <0>;		/* 0 : N, 1 : Y */
			companion = <0>;	/* 0 : N, 1 : Y */
			ois = <0>;		/* 0 : N, 1 : Y */
			valid = <1>;		/* 0 : INVALID, 1 : VALID */
		};
		camera_info2 {			/* 2 : sysfs rear2 */
			internal_id = <4>;	/* 2 : ultra wide */
			isp = <0>;		/* 0 : INT, 1 : EXT, 2 : SOC */
			cal_memory = <3>;	/* 0 : N, 1 : FROM, 2 : EEPROM, 3 : OTP */
			read_version = <0>;	/* 0 : SYSFS, 1 : CAMON */
			core_voltage = <0>;	/* 0 : N, 1 : Y */
			upgrade = <0>;		/* 0 : N, 1 : SYSFS, 2 : CAMON */
			fw_write = <0>;		/* 0 : N, 1 : OS, 2 : SD, 3 : ALL */
			fw_dump = <0>;		/* 0 : N, 1 : Y */
			companion = <0>;	/* 0 : N, 1 : Y */
			ois = <0>;		/* 0 : N, 1 : Y */
			valid = <1>;		/* 0 : INVALID, 1 : VALID */
		};
		camera_info4 {			/* 4 : sysfs rear4 */
			internal_id = <6>;	/* 4 : macro */
			isp = <0>;		/* 0 : INT, 1 : EXT, 2 : SOC */
			cal_memory = <2>;	/* 0 : N, 1 : FROM, 2 : EEPROM, 3 : OTP */
			read_version = <0>;	/* 0 : SYSFS, 1 : CAMON */
			core_voltage = <0>;	/* 0 : N, 1 : Y */
			upgrade = <0>;		/* 0 : N, 1 : SYSFS, 2 : CAMON */
			fw_write = <0>;		/* 0 : N, 1 : OS, 2 : SD, 3 : ALL */
			fw_dump = <0>;		/* 0 : N, 1 : Y */
			companion = <0>;	/* 0 : N, 1 : Y */
			ois = <0>;		/* 0 : N, 1 : Y */
			valid = <1>;		/* 0 : INVALID, 1 : VALID */
		};
	};

	is_dvfs {
		#define CPU_CL0	"0-3"
		#define CPU_CL1	"4-7"
		#define CPU_ALL	"0-7"

		table0 {
			desc = "dvfs table v0.2";

			default_csis = <1>;
			default_cam = <1>;
			default_isp = <1>;
			default_m2m = <1>;
			default_mif = <1>;
			default_int = <1>;
			default_cpu = CPU_CL0;

			rear_single_photo_isp = <6>;
			rear_single_photo_mif = <3>;
			rear_single_photo_cpu = CPU_CL0;

			rear_single_photo_full_mif = <3>;
			rear_single_photo_full_cpu = CPU_CL0;

			rear_single_video_hd30_isp = <5>;
			rear_single_video_hd30_mif = <3>;
			rear_single_video_hd30_cpu = CPU_CL0;

			rear_single_video_fhd30_isp = <5>;
			rear_single_video_fhd30_mif = <3>;
			rear_single_video_fhd30_cpu = CPU_CL0;

			rear_single_video_fhd60_isp = <3>;
			rear_single_video_fhd60_mif = <0>;
			rear_single_video_fhd60_cpu = CPU_CL0;

			rear_single_video_uhd30_isp = <5>;
			rear_single_video_uhd30_mif = <1>;
			rear_single_video_uhd30_cpu = CPU_CL0;

			rear_single_capture_cam = <1>;
			rear_single_capture_isp = <1>;
			rear_single_capture_mif = <0>;
			rear_single_capture_cpu = CPU_CL0;

			rear_single_video_fhd120_isp = <0>;
			rear_single_video_fhd120_m2m = <0>;
			rear_single_video_fhd120_mif = <0>;
			rear_single_video_fhd120_cpu = CPU_CL0;

			rear_single_video_hd240_isp = <6>;
			rear_single_video_hd240_m2m = <4>;
			rear_single_video_hd240_mif = <0>;
			rear_single_video_hd240_cpu = CPU_CL0;

			rear_single_ssm_isp = <6>;
			rear_single_ssm_m2m = <4>;
			rear_single_ssm_mif = <0>;
			rear_single_ssm_hpg = <6>;
			rear_single_ssm_cpu = CPU_CL0;

			rear_single_vt_isp = <5>;
			rear_single_vt_mif = <3>;
			rear_single_vt_cpu = CPU_CL0;

			rear_single_video_fhd30_supersteady_isp = <0>;
			rear_single_video_fhd30_supersteady_mif = <0>;
			rear_single_video_fhd30_supersteady_cpu = CPU_CL0;

			rear_single_remosaic_photo_isp = <6>;
			rear_single_remosaic_photo_mif = <3>;
			rear_single_remosaic_photo_cpu = CPU_CL0;

			rear_single_remosaic_capture_cam = <1>;
			rear_single_remosaic_capture_isp = <1>;
			rear_single_remosaic_capture_m2m = <4>;
			rear_single_remosaic_capture_mif = <0>;
			rear_single_remosaic_capture_cpu = CPU_CL0;

			rear_dual_wide_tele_photo_isp = <0>;
			rear_dual_wide_tele_photo_mif = <0>;
			rear_dual_wide_tele_photo_cpu = CPU_CL0;

			rear_dual_wide_tele_video_fhd30_isp = <0>;
			rear_dual_wide_tele_video_fhd30_mif = <0>;
			rear_dual_wide_tele_video_fhd30_cpu = CPU_CL0;

			rear_dual_wide_tele_video_uhd30_isp = <0>;
			rear_dual_wide_tele_video_uhd30_mif = <0>;
			rear_dual_wide_tele_video_uhd30_cpu = CPU_CL0;

			rear_dual_wide_tele_video_fhd60_isp = <0>;
			rear_dual_wide_tele_video_fhd60_mif = <0>;
			rear_dual_wide_tele_video_fhd60_cpu = CPU_CL0;

			rear_dual_wide_tele_capture_cam = <0>;
			rear_dual_wide_tele_capture_isp = <0>;
			rear_dual_wide_tele_capture_m2m = <0>;
			rear_dual_wide_tele_capture_mif = <0>;
			rear_dual_wide_tele_capture_cpu = CPU_CL0;

			rear_dual_wide_ultrawide_photo_isp = <3>;
			rear_dual_wide_ultrawide_photo_mif = <0>;
			rear_dual_wide_ultrawide_photo_cpu = CPU_CL0;

			rear_dual_wide_ultrawide_video_fhd30_isp = <0>;
			rear_dual_wide_ultrawide_video_fhd30_mif = <0>;
			rear_dual_wide_ultrawide_video_fhd30_cpu = CPU_CL0;

			rear_dual_wide_ultrawide_video_uhd30_isp = <0>;
			rear_dual_wide_ultrawide_video_uhd30_mif = <0>;
			rear_dual_wide_ultrawide_video_uhd30_cpu = CPU_CL0;

			rear_dual_wide_ultrawide_video_fhd60_isp = <0>;
			rear_dual_wide_ultrawide_video_fhd60_mif = <0>;
			rear_dual_wide_ultrawide_video_fhd60_cpu = CPU_CL0;

			rear_dual_wide_ultrawide_capture_cam = <1>;
			rear_dual_wide_ultrawide_capture_isp = <1>;
			rear_dual_wide_ultrawide_capture_m2m = <4>;
			rear_dual_wide_ultrawide_capture_mif = <0>;
			rear_dual_wide_ultrawide_capture_cpu = CPU_CL0;

			front_single_photo_isp = <6>;
			front_single_photo_mif = <3>;
			front_single_photo_cpu = CPU_CL0;

			front_single_photo_full_mif = <3>;
			front_single_photo_full_cpu = CPU_CL0;

			front_single_video_hd30_isp = <6>;
			front_single_video_hd30_mif = <3>;
			front_single_video_hd30_cpu = CPU_CL0;

			front_single_video_fhd30_isp = <6>;
			front_single_video_fhd30_mif = <3>;
			front_single_video_fhd30_cpu = CPU_CL0;

			front_single_video_uhd30_isp = <6>;
			front_single_video_uhd30_mif = <1>;
			front_single_video_uhd30_cpu = CPU_CL0;

			front_single_video_fhd60_isp = <5>;
			front_single_video_fhd60_mif = <0>;
			front_single_video_fhd60_cpu = CPU_CL0;

			front_single_capture_csis = <5>;
			front_single_capture_cam = <1>;
			front_single_capture_isp = <1>;
			front_single_capture_m2m = <4>;
			front_single_capture_mif = <0>;
			front_single_capture_cpu = CPU_CL0;

			front_single_vt_isp = <5>;
			front_single_vt_mif = <3>;
			front_single_vt_cpu = CPU_CL0;

			front_single_video_hd120_isp = <2>;
			front_single_video_hd120_m2m = <4>;
			front_single_video_hd120_mif = <0>;
			front_single_video_hd120_hpg = <0>;
			front_single_video_hd120_cpu = CPU_CL0;

			front_single_remosaic_photo_isp = <6>;
			front_single_remosaic_photo_mif = <3>;
			front_single_remosaic_photo_cpu = CPU_CL0;

			front_single_remosaic_capture_cam = <1>;
			front_single_remosaic_capture_isp = <1>;
			front_single_remosaic_capture_m2m = <4>;
			front_single_remosaic_capture_mif = <0>;
			front_single_remosaic_capture_cpu = CPU_CL0;

			rear_single_wide_fastae_cam = <5>;
			rear_single_wide_fastae_isp = <5>;
			rear_single_wide_fastae_m2m = <4>;
			rear_single_wide_fastae_mif = <1>;
			rear_single_wide_fastae_cpu = CPU_CL0;

			front_single_fastae_cam = <5>;
			front_single_fastae_csis = <5>;
			front_single_fastae_isp = <5>;
			front_single_fastae_m2m = <4>;
			front_single_fastae_mif = <1>;
			front_single_fastae_cpu = CPU_CL0;

			pip_dual_photo_isp = <0>;
			pip_dual_photo_mif = <0>;
			pip_dual_photo_cpu = CPU_CL0;

			pip_dual_capture_cam = <0>;
			pip_dual_capture_isp = <0>;
			pip_dual_capture_m2m = <0>;
			pip_dual_capture_mif = <0>;
			pip_dual_capture_cpu = CPU_CL0;

			pip_dual_video_fhd30_isp = <0>;
			pip_dual_video_fhd30_mif = <0>;
			pip_dual_video_fhd30_cpu = CPU_CL0;

			sensor_only_rear_single_cam = <1>;
			sensor_only_rear_single_csis = <1>;
			sensor_only_rear_single_isp = <1>;
			sensor_only_rear_single_m2m = <1>;
			sensor_only_rear_single_mif = <1>;
			sensor_only_rear_single_int = <1>;
			sensor_only_rear_single_cpu = CPU_CL0;

			sensor_only_front_cam = <1>;
			sensor_only_front_csis = <1>;
			sensor_only_front_isp = <1>;
			sensor_only_front_m2m = <1>;
			sensor_only_front_mif = <1>;
			sensor_only_front_int = <1>;
			sensor_only_front_cpu = CPU_CL0;

			throttling_cam = <0>;
			throttling_csis = <0>;
			throttling_isp = <0>;
			throttling_m2m = <0>;
			throttling_mif = <0>;
			throttling_int = <0>;
			throttling_hpg = <0>;
			throttling_cpu = CPU_CL0;

			max_cam = <1>;
			max_csis = <1>;
			max_isp = <1>;
			max_m2m = <1>;
			max_mif = <1>;
			max_int = <1>;
			max_cpu = CPU_CL0;
		};
	};
};

